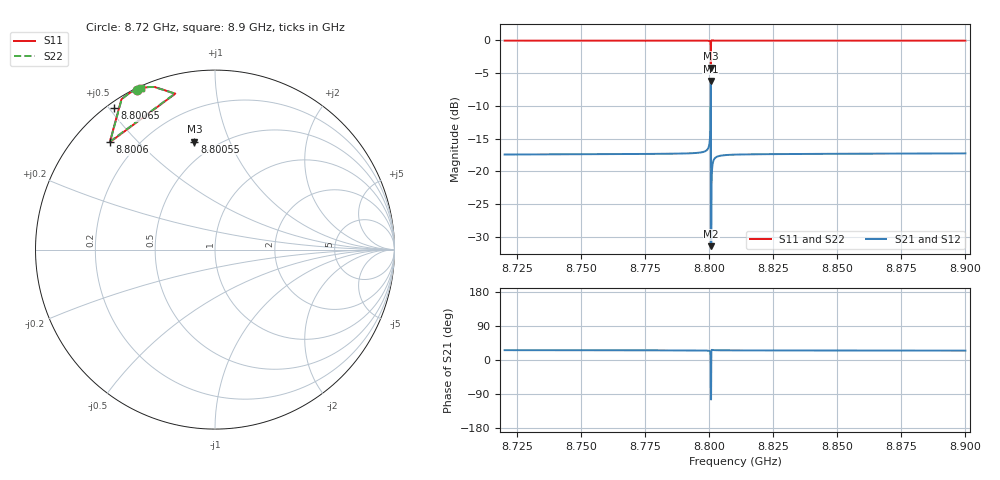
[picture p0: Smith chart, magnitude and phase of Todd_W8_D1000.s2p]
! Sonnet Data File
! From: emgraph Version : 16.52
! From Project: transmon_brgOdd
! Data is De-embedded
! Data File Written: 11/11/2017 22:28:46
!< HDATE 11/11/2017 18:22:48
!< MDATE 11/11/2017 18:22:48
!< PARAMS
!< Lj = 15.24
!< Gap = 6.0
!< Width = 10.0
!< Airgap = 6.0
!< Pwidth = 2000.0
!< Dist = 1000.0
!< END PARAMS
# GHZ S MA R 34.67000
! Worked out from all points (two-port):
!   3601 points, 8.72 GHz to 8.9 GHz, reference 34.67 ohm
!   highest |S21| = -6.21 dB at 8.80055 GHz (marker M1); lowest = -31.4 dB at 8.8007 GHz (marker M2)
!   |S21| within 3 dB of the highest: 8.800507 GHz to 8.800574 GHz (66.96 kHz wide, 0.000761 % of centre)
!   lowest |S11| = -4.2 dB at 8.80055 GHz (marker M3), VSWR 4.17, Z = 13.5 + j26 ohm
!   |S11| at or under -10 dB: nowhere
!   |S22| runs from -4.2 to -0.1 dB; largest |S21 - S12| = 0
!   S11 on the Smith chart (normalised r, x): 8.72 GHz: 0.01, +0.62; 8.80055 GHz: 0.39, +0.75; 8.8006 GHz: 0.10, +0.42; 8.80065 GHz: 0.02, +0.52; 8.9 GHz: 0.01, +0.64
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8.72  0.9909 116.0  0.1344 26.0  0.1344 26.0  0.9909 116.0
!< P1 F=8.72 Eeff=(5.13609477 -5.6761e-5) Z0=(34.6490765 -9.5162e-5) R=0.0 C=0.0
!< P2 F=8.72 Eeff=(5.13609477 -5.6761e-5) Z0=(34.6490765 -9.5162e-5) R=0.0 C=0.0
8.75  0.9908 115.8  0.135 25.8  0.135 25.8  0.9908 115.8
8.78  0.9907 115.5  0.1359 25.5  0.1359 25.5  0.9907 115.5
8.79735  0.9901 115.2  0.1402 25.1  0.1402 25.1  0.9901 115.2
8.79915  0.9891 114.8  0.1461 24.8  0.1461 24.8  0.9891 114.8
8.7995  0.9885 114.6  0.1496 24.5  0.1496 24.5  0.9885 114.6
8.7997  0.9879 114.4  0.1528 24.3  0.1528 24.3  0.9879 114.4
8.79995  0.9865 114.0  0.1597 23.8  0.1597 23.8  0.9865 114.0
8.80055  0.6131 100.8  0.4891 -28.4  0.4891 -28.4  0.6173 101.2
8.8006  0.8374 134.4  0.2395 -99.1  0.2395 -99.1  0.8394 134.1
8.80065  0.9665 125.5  0.05 -104.1  0.05 -104.1  0.967 125.3
8.8007  0.9862 121.9  0.02692 2.0  0.02692 2.0  0.9864 121.8
8.80125  0.993 116.7  0.1135 26.4  0.1135 26.4  0.993 116.7
8.80145  0.9926 116.4  0.1185 26.2  0.1185 26.2  0.9926 116.4
8.80155  0.9925 116.3  0.1202 26.2  0.1202 26.2  0.9925 116.3
8.8017  0.9923 116.2  0.1223 26.1  0.1223 26.1  0.9923 116.2
8.8019  0.9921 116.1  0.1243 26.0  0.1243 26.0  0.9921 116.0
8.80285  0.9916 115.8  0.129 25.7  0.129 25.7  0.9916 115.8
8.81  0.991 115.4  0.1341 25.4  0.1341 25.4  0.991 115.4
8.84  0.9907 115.1  0.1358 25.1  0.1358 25.1  0.9907 115.1
8.87  0.9906 114.9  0.1365 24.9  0.1365 24.9  0.9906 114.9
8.9  0.9906 114.7  0.1371 24.7  0.1371 24.7  0.9906 114.7
